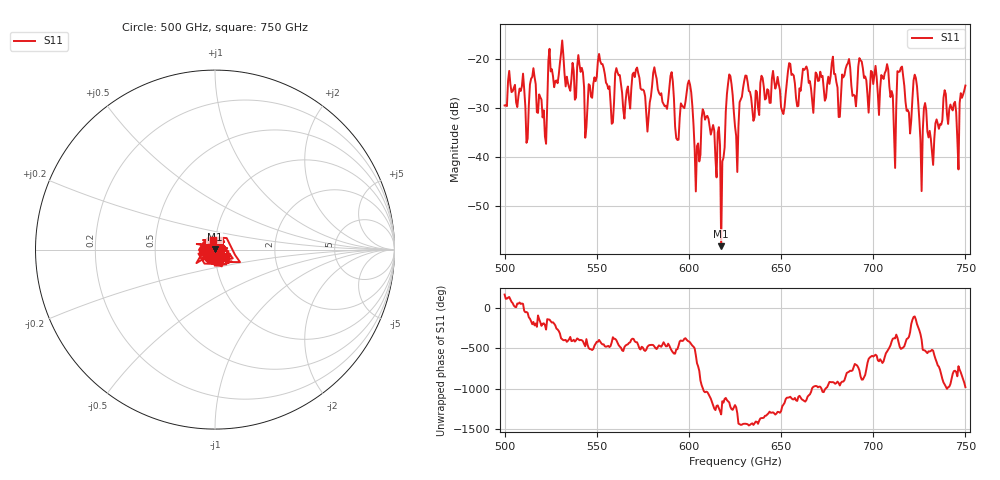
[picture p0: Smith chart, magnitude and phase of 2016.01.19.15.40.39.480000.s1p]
!Created with skrf (http://scikit-rf.org).
# GHz S RI R 50.0
!freq ReS11 ImS11
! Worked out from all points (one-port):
!   401 points, 500 GHz to 750 GHz, reference 50 ohm
!   lowest |S11| = -58.2 dB at 617.5 GHz (marker M1), VSWR 1.00, Z = 49.9 + j0.103 ohm
!   |S11| at or under -10 dB: start of sweep to end of sweep
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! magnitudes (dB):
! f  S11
! 500 GHz  -29.4
! 515.6 GHz  -21.8
! 521.9 GHz  -35.7
! 525 GHz  -22.5
! 531.2 GHz  -16.2
! 544.4 GHz  -33.9
! 551.9 GHz  -20.4
! 558.1 GHz  -33.2
! 562.5 GHz  -23.2
! 590.6 GHz  -22.6
! 593.8 GHz  -36.5
! 600 GHz  -24.3
! 604.4 GHz  -37.7
! 608.8 GHz  -32.3
! 617.5 GHz  -58.2
! 621.9 GHz  -23.1
! 625 GHz  -33.7
! 630.6 GHz  -23.3
! 656.2 GHz  -23.0
! 687.5 GHz  -21.7
! 706.9 GHz  -22.3
! 711.2 GHz  -34.5
! 714.4 GHz  -22.5
! 718.8 GHz  -30.4
! 723.1 GHz  -23.8
! 725.6 GHz  -36.5
! 731.9 GHz  -38.9
! 750 GHz  -25.4
